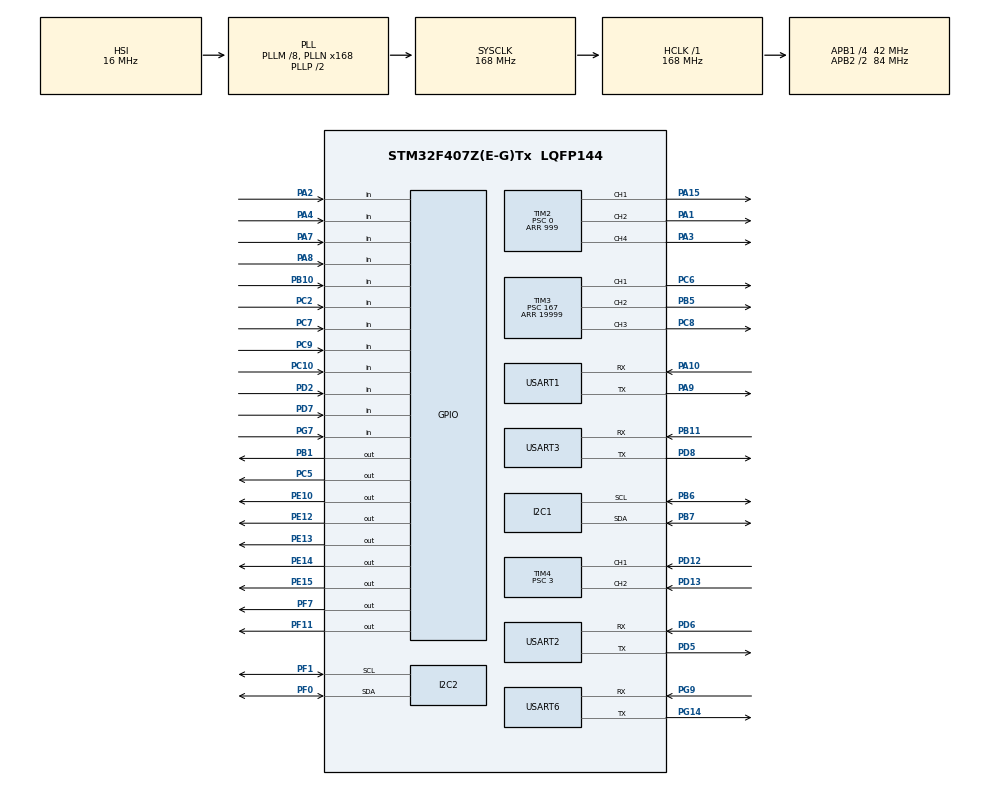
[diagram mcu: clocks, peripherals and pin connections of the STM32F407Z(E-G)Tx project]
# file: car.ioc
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I2C1.I2C_Mode=I2C_Standard
Mcu.Family=STM32F4
Mcu.Name=STM32F407Z(E-G)Tx
Mcu.Package=LQFP144
NVIC.I2C1_ER_IRQn=true\:0\:0\:false\:false\:true\:true\:true\:true
NVIC.I2C1_EV_IRQn=true\:0\:0\:true\:false\:true\:true\:true\:true
NVIC.I2C2_ER_IRQn=true\:0\:0\:false\:false\:true\:true\:true\:true
NVIC.I2C2_EV_IRQn=true\:0\:0\:true\:false\:true\:true\:true\:true
NVIC.PriorityGroup=NVIC_PRIORITYGROUP_4
NVIC.RCC_IRQn=true\:0\:0\:false\:false\:true\:true\:false\:true
NVIC.TIM1_UP_TIM10_IRQn=true\:0\:0\:false\:false\:true\:true\:true\:true
NVIC.TIM2_IRQn=true\:0\:0\:true\:false\:true\:true\:true\:true
NVIC.TIM3_IRQn=true\:0\:0\:true\:false\:true\:true\:true\:true
NVIC.TIM4_IRQn=true\:0\:0\:true\:false\:true\:true\:true\:true
NVIC.USART1_IRQn=true\:1\:0\:true\:false\:true\:true\:true\:true
NVIC.USART2_IRQn=true\:1\:0\:true\:false\:true\:true\:true\:true
NVIC.USART3_IRQn=true\:1\:0\:true\:false\:true\:true\:true\:true
NVIC.USART6_IRQn=true\:0\:0\:false\:false\:true\:true\:true\:true
PA1.Signal=S_TIM2_CH2
PA10.Mode=Asynchronous
PA10.Signal=USART1_RX
PA15.Signal=S_TIM2_CH1_ETR
PA2.GPIO_PuPd=GPIO_PULLUP
PA2.Signal=GPIO_Input
PA3.Signal=S_TIM2_CH4
PA4.GPIO_PuPd=GPIO_PULLUP
PA4.Signal=GPIO_Input
PA7.GPIO_PuPd=GPIO_PULLUP
PA7.Signal=GPIO_Input
PA8.Signal=GPIO_Input
PA9.Mode=Asynchronous
PA9.Signal=USART1_TX
PB1.PinState=GPIO_PIN_RESET
PB1.Signal=GPIO_Output
PB10.Signal=GPIO_Input
PB11.Mode=Asynchronous
PB11.Signal=USART3_RX
PB5.Signal=S_TIM3_CH2
PB6.Mode=I2C
PB6.Signal=I2C1_SCL
PB7.Mode=I2C
PB7.Signal=I2C1_SDA
PC10.Signal=GPIO_Input
PC14-OSC32_IN.Mode=LSE-External-Oscillator
PC14-OSC32_IN.Signal=RCC_OSC32_IN
PC15-OSC32_OUT.Mode=LSE-External-Oscillator
PC15-OSC32_OUT.Signal=RCC_OSC32_OUT
PC2.GPIO_PuPd=GPIO_PULLUP
PC2.Signal=GPIO_Input
PC5.PinState=GPIO_PIN_RESET
PC5.Signal=GPIO_Output
PC6.Signal=S_TIM3_CH1
PC7.Signal=GPIO_Input
PC8.Signal=S_TIM3_CH3
PC9.Signal=GPIO_Input
PD12.Signal=S_TIM4_CH1
PD13.Signal=S_TIM4_CH2
PD2.Signal=GPIO_Input
PD5.Mode=Asynchronous
PD5.Signal=USART2_TX
PD6.Mode=Asynchronous
PD6.Signal=USART2_RX
PD7.Signal=GPIO_Input
PD8.Mode=Asynchronous
PD8.Signal=USART3_TX
PE10.PinState=GPIO_PIN_SET
PE10.Signal=GPIO_Output
PE12.PinState=GPIO_PIN_RESET
PE12.Signal=GPIO_Output
PE13.PinState=GPIO_PIN_RESET
PE13.Signal=GPIO_Output
PE14.PinState=GPIO_PIN_SET
PE14.Signal=GPIO_Output
PE15.Signal=GPIO_Output
PF0.Mode=I2C
PF0.Signal=I2C2_SDA
PF1.Mode=I2C
PF1.Signal=I2C2_SCL
PF11.PinState=GPIO_PIN_RESET
PF11.Signal=GPIO_Output
PF7.PinState=GPIO_PIN_RESET
PF7.Signal=GPIO_Output
PG14.Mode=Asynchronous
PG14.Signal=USART6_TX
PG7.Signal=GPIO_Input
PG9.Mode=Asynchronous
PG9.Signal=USART6_RX
PH0-OSC_IN.Mode=HSE-External-Oscillator
PH0-OSC_IN.Signal=RCC_OSC_IN
PH1-OSC_OUT.Mode=HSE-External-Oscillator
PH1-OSC_OUT.Signal=RCC_OSC_OUT
ProjectManager.HeapSize=0x200
ProjectManager.StackSize=0x400
ProjectManager.TargetToolchain=MDK-ARM V5.32
RCC.48MHZClocksFreq_Value=84000000
RCC.AHBFreq_Value=168000000
RCC.APB1CLKDivider=RCC_HCLK_DIV4
RCC.APB1Freq_Value=42000000
RCC.APB1TimFreq_Value=84000000
RCC.APB2CLKDivider=RCC_HCLK_DIV2
RCC.APB2Freq_Value=84000000
RCC.APB2TimFreq_Value=168000000
RCC.CortexFreq_Value=168000000
RCC.HCLKFreq_Value=168000000
RCC.HSE_VALUE=25000000
RCC.HSI_VALUE=16000000
RCC.PLLM=8
RCC.PLLN=168
RCC.SYSCLKFreq_VALUE=168000000
RCC.SYSCLKSource=RCC_SYSCLKSOURCE_PLLCLK
RCC.VCOOutputFreq_Value=336000000
SH.S_TIM2_CH1_ETR.0=TIM2_CH1,PWM Generation1 CH1
SH.S_TIM2_CH2.0=TIM2_CH2,PWM Generation2 CH2
SH.S_TIM2_CH4.0=TIM2_CH4,PWM Generation4 CH4
SH.S_TIM3_CH1.0=TIM3_CH1,PWM Generation1 CH1
SH.S_TIM3_CH2.0=TIM3_CH2,PWM Generation2 CH2
SH.S_TIM3_CH3.0=TIM3_CH3,PWM Generation3 CH3
SH.S_TIM4_CH1.0=TIM4_CH1,Encoder_Interface
SH.S_TIM4_CH2.0=TIM4_CH2,Encoder_Interface
TIM1.AutoReloadPreload=TIM_AUTORELOAD_PRELOAD_ENABLE
TIM1.Period=29999
TIM1.Prescaler=1679
TIM2.Channel-PWM\ Generation1\ CH1=TIM_CHANNEL_1
TIM2.Channel-PWM\ Generation2\ CH2=TIM_CHANNEL_2
TIM2.Channel-PWM\ Generation4\ CH4=TIM_CHANNEL_4
TIM2.Period=999
TIM2.Prescaler=0
TIM3.AutoReloadPreload=TIM_AUTORELOAD_PRELOAD_DISABLE
TIM3.Channel-PWM\ Generation1\ CH1=TIM_CHANNEL_1
TIM3.Channel-PWM\ Generation2\ CH2=TIM_CHANNEL_2
TIM3.Channel-PWM\ Generation3\ CH3=TIM_CHANNEL_3
TIM3.Period=19999
TIM3.Prescaler=167
TIM4.EncoderMode=TIM_ENCODERMODE_TI12
TIM4.Prescaler=3
USART1.VirtualMode=VM_ASYNC
USART2.VirtualMode=VM_ASYNC
USART3.VirtualMode=VM_ASYNC
USART6.VirtualMode=VM_ASYNC
VP_TIM1_VS_ClockSourceINT.Mode=Internal
VP_TIM1_VS_ClockSourceITR.Mode=TriggerSource_ITR0
board=custom

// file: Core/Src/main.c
/* USER CODE BEGIN Header */
/**
 ******************************************************************************
 * @file           : main.c
 * @brief          : Main program body
 ******************************************************************************
 * @attention
 *
 * Copyright (c) 2023 STMicroelectronics.
 * All rights reserved.
 *
 * This software is licensed under terms that can be found in the LICENSE file
 * in the root directory of this software component.
 * If no LICENSE file comes with this software, it is provided AS-IS.
 *
 ******************************************************************************
 */
/* USER CODE END Header */
#include "main.h"
#include "i2c.h"
#include "tim.h"
#include "usart.h"
#include "gpio.h"

/* USER CODE BEGIN Includes */
#include <stdio.h>
#include <stdlib.h>
#include "OpenMV.h"
#include "xunji.h"
#include "mpu6050.h"
#include "delay.h"
#include "inv_mpu.h"
#include "inv_mpu_dmp_motion_driver.h"
#include "pid.h"
#include "car.h"
#include "oled.h"
#include "stmflash.h"

/* USER CODE END Includes */

/* USER CODE BEGIN PTD */
#define BUFFER_SIZE 20
#define RED_BUFFER 4
// 数字键盘相关
#define FLASH_SAVE_ADDR 0X08010000
// 定义行和列的数量
#define NUM_ROWS 4
#define NUM_COLS 4
// 行和列对应的IO�???
GPIO_TypeDef *row_ports[NUM_ROWS] = {GPIOA, GPIOC, GPIOA, GPIOA};
uint16_t row_pins[NUM_ROWS] = {GPIO_PIN_2, GPIO_PIN_2, GPIO_PIN_4, GPIO_PIN_7};

GPIO_TypeDef *col_ports[NUM_COLS] = {GPIOC, GPIOB, GPIOF, GPIOF};
uint16_t col_pins[NUM_COLS] = {GPIO_PIN_5, GPIO_PIN_1, GPIO_PIN_11, GPIO_PIN_7};
uint32_t load[20] = {655, 774,
					 708, 724, 602, 724, 602, 828, 708, 828,
					 708, 724, 602, 724, 602, 828, 708, 828};

int keyNumbers[NUM_ROWS][NUM_COLS] = {
	{1, 2, 3, 4},
	{5, 6, 7, 8},
	{9, 10, 11, 12},
	{13, 14, 15, 16}};

int flag_stop = 0;
// 缓冲区用于存储接收到的数�??????
uint8_t rxBuffer;
uint32_t rxIndex = 0;
uint8_t redBuffer[RED_BUFFER];
uint32_t redIndex = 0;
// 舵机巡线
int targetX = 0;
int targetY = 0;
uint8_t buffer1[1];

int pwm_orign_x;
int pwm_orign_y;
int pwm_test_x;
int pwm_test_y;
// 接收红色�????光坐�????
int16_t redX = 86;
int16_t redY = 54;
int16_t origin_x = 87;
int16_t origin_y = 54;
// 接收黑框坐标
int16_t x_left_top = 56;
int16_t y_left_top = 40;
int16_t x_right_top = 118;
int16_t y_right_top = 40;
int16_t x_right_bottom = 118;
int16_t y_right_bottom = 86;
int16_t x_left_bottom = 56;
int16_t y_left_bottom = 86;

int pwm_x_left_top_p2 = 708;
int pwm_y_left_top_p2 = 724;
int pwm_x_right_top_p2 = 602;
int pwm_y_right_top_p2 = 724;
int pwm_x_right_bottom_p2 = 602;
int pwm_y_right_bottom_p2 = 828;
int pwm_x_left_bottom_p2 = 708;
int pwm_y_left_bottom_p2 = 828;

int pwm_x_left_top_p3 = 708;
int pwm_y_left_top_p3 = 724;
int pwm_x_right_top_p3 = 602;
int pwm_y_right_top_p3 = 724;
int pwm_x_right_bottom_p3 = 602;
int pwm_y_right_bottom_p3 = 828;
int pwm_x_left_bottom_p3 = 708;
int pwm_y_left_bottom_p3 = 828;

int16_t rect_orign_x;
int16_t rect_orign_y;

int flag_servo = 0;
int flag_problem = 0;

int receivedData;
char *endPtr;
char *token;
/* USER CODE END PTD */

void SystemClock_Config(void);
/* USER CODE BEGIN PFP */
/* USER CODE BEGIN PV */
void ButtonDebug(int pressedKey);
void Problem1(void);
void Problem2(void);
void Problem3(void);
void Problem4(void);
void TrackX(int x1, int x2, int y1, int y2);
void TrackY(int x1, int x2, int y1, int y2);
/* USER CODE END PV */

/* USER CODE END PFP */

/* USER CODE BEGIN 0 */
#define DEBOUNCE_DELAY_MS 20 // 调整此�?�以适应您的�???�???
int isButtonPressed(GPIO_TypeDef *port, uint16_t pin)
{
	uint32_t startTime = HAL_GetTick(); // 获取当前时间

	while (HAL_GetTick() - startTime < DEBOUNCE_DELAY_MS)
	{
		if (HAL_GPIO_ReadPin(port, pin) == GPIO_PIN_RESET)
		{
			// 按键仍然按下
			HAL_Delay(10); // 延迟�???小段时间，确保按键稳�???
		}
		else
		{
			// 按键已经释放
			return 0;
		}
	}

	// 在一段时间内保持按下状�?�，认为按键按下
	return 1;
}
int currentLevel = 0;
int previousLevel = 0;
int currentMenu = 0; // 当前�???在菜�???
int model = 1;
int scanKeyMatrix(void)
{
	int pressedKey = 0; // 默认值表示没有按键按�???
	unsigned char a, b, c;
	for (int i = 0; i < NUM_COLS; i++)
	{
		// 设置当前列为低电�???
		HAL_GPIO_WritePin(col_ports[i], col_pins[i], GPIO_PIN_RESET);
		for (c = 234; c > 0; c--)
			for (b = 123; b > 0; b--)
				for (a = 7; a > 0; a--)
					;
		// �???查每�???行的状�??
		for (int j = 0; j < NUM_ROWS; j++)
		{
			if (HAL_GPIO_ReadPin(row_ports[j], row_pins[j]) == GPIO_PIN_RESET)
			{
				pressedKey = keyNumbers[j][i]; // 获取按键编号
			}
		}

		// 恢复当前列为高电�???
		HAL_GPIO_WritePin(col_ports[i], col_pins[i], GPIO_PIN_SET);
	}

	return pressedKey;
}
/*
	逆时针增�??????
	x[0,180]-> PWM[500,3500]
	y[0,90]-> PWM[1500,2500]
*/
void setServoPosition(int angle_x, int angle_y)
{

	// // 舵机
	uint16_t pulse_x = ((angle_x * 2500) / 270) + 499;
	uint16_t pulse_y = ((angle_y * 1000) / 120) + 1499;

	TIM3->CCR1 = pulse_y;
	TIM3->CCR2 = pulse_x;
}

void setServoPwm(int pwm_x, int pwm_y)
{
	if (pwm_x > 900)
		pwm_x = 900;
	else if (pwm_x < 400)
		pwm_x = 400;
	if (pwm_y > 900)
		pwm_y = 900;
	else if (pwm_y < 400)
		pwm_y = 400;
	TIM3->CCR1 = pwm_y;
	TIM3->CCR2 = pwm_x;
	current_x = pwm_x;
	current_y = pwm_y;
	// printf("current_x:%d,current_x:%d\r\n", current_x, current_y);
}

void BufferInit()
{
	// STMFLASH_Write(FLASH_SAVE_ADDR, (uint32_t *)load, sizeof(load) / sizeof(uint32_t));
	STMFLASH_Read(FLASH_SAVE_ADDR, load, sizeof(load) / sizeof(uint32_t));
	pwm_orign_x = load[0];
	pwm_orign_y = load[1];
	pwm_x_left_top_p2 = load[2];
	pwm_y_left_top_p2 = load[3];
	pwm_x_right_top_p2 = load[4];
	pwm_y_right_top_p2 = load[5];
	pwm_x_right_bottom_p2 = load[6];
	pwm_y_right_bottom_p2 = load[7];
	pwm_x_left_bottom_p2 = load[8];
	pwm_y_left_bottom_p2 = load[9];
	pwm_x_left_top_p3 = load[10];
	pwm_y_left_top_p3 = load[11];
	pwm_x_right_top_p3 = load[12];
	pwm_y_right_top_p3 = load[13];
	pwm_x_right_bottom_p3 = load[14];
	pwm_y_right_bottom_p3 = load[15];
	pwm_x_left_bottom_p3 = load[16];
	pwm_y_left_bottom_p3 = load[17];
	printf("pwm_orign_x:%d\r\n", pwm_orign_x);
	printf("pwm_orign_y:%d\r\n", pwm_orign_y);
	printf("pwm_x_left_top_p2:%d\r\n", pwm_x_left_top_p2);
	printf("pwm_y_left_top_p2:%d\r\n", pwm_y_left_top_p2);
	printf("pwm_x_right_top_p2:%d\r\n", pwm_x_right_top_p2);
	printf("pwm_y_right_top_p2:%d\r\n", pwm_y_right_top_p2);
	printf("pwm_x_right_bottom_p2:%d\r\n", pwm_x_right_bottom_p2);
	printf("pwm_y_right_bottom_p2:%d\r\n", pwm_y_right_bottom_p2);
	printf("pwm_x_left_bottom_p2:%d\r\n", pwm_x_left_bottom_p2);
	printf("pwm_y_left_bottom_p2:%d\r\n", pwm_y_left_bottom_p2);
	printf("pwm_x_left_top_p3:%d\r\n", pwm_x_left_top_p3);
	printf("pwm_y_left_top_p3:%d\r\n", pwm_y_left_top_p3);
	printf("pwm_x_right_top_p3:%d\r\n", pwm_x_right_top_p3);
	printf("pwm_y_right_top_p3:%d\r\n", pwm_y_right_top_p3);
	printf("pwm_x_right_bottom_p3:%d\r\n", pwm_x_right_bottom_p3);
	printf("pwm_y_right_bottom_p3:%d\r\n", pwm_y_right_bottom_p3);
	printf("pwm_x_left_bottom_p3:%d\r\n", pwm_x_left_bottom_p3);
	printf("pwm_y_left_bottom_p3:%d\r\n", pwm_y_left_bottom_p3);
}

/* USER CODE END 0 */

int main(void)
{
	/* USER CODE BEGIN 1 */
	pwm_test_x = pwm_orign_x;
	pwm_test_y = pwm_orign_y;

	/* USER CODE END 1 */

	/* MCU Configuration--------------------------------------------------------*/

	/* Reset of all peripherals, Initializes the Flash interface and the Systick. */
	HAL_Init();

	/* Configure the system clock */
	SystemClock_Config();

	/* Initialize all configured peripherals */
	MX_GPIO_Init();
	MX_TIM1_Init();
	MX_USART1_UART_Init();
	MX_TIM2_Init();
	MX_TIM3_Init();
	MX_TIM4_Init();
	MX_I2C1_Init();
	MX_I2C2_Init();
	MX_USART2_UART_Init();
	MX_USART3_UART_Init();
	MX_USART6_UART_Init();
	/* USER CODE BEGIN 2 */
	HAL_TIM_Base_Start_IT(&htim1);
	HAL_TIM_Base_Start(&htim2);
	HAL_TIM_PWM_Start(&htim2, TIM_CHANNEL_1);
	HAL_TIM_PWM_Start(&htim2, TIM_CHANNEL_2);
	HAL_TIM_PWM_Start(&htim2, TIM_CHANNEL_3);
	HAL_TIM_PWM_Start(&htim2, TIM_CHANNEL_4);
	HAL_TIM_Base_Start(&htim3);
	HAL_TIM_PWM_Start(&htim3, TIM_CHANNEL_1);
	HAL_TIM_PWM_Start(&htim3, TIM_CHANNEL_2);
	HAL_TIM_PWM_Start(&htim3, TIM_CHANNEL_3);
	HAL_TIM_PWM_Start(&htim3, TIM_CHANNEL_4);
	HAL_TIM_Base_Start(&htim4);
	HAL_TIM_Encoder_Start(&htim4, TIM_CHANNEL_ALL);

	BufferInit();
	// setServoPwm(509, 500);
	// [299, 1199]

	// 使能串口三接收中�??????
	HAL_UART_Receive_IT(&huart3, (void *)&rxBuffer, 1);
	HAL_UART_Receive_IT(&huart1, &buffer1[1], 1);
	// HAL_UART_Receive_IT(&huart2, &redBuffer[redIndex], 1);
	HAL_UART_Receive_IT(&huart6, &redBuffer[redIndex], 1);

	//	Mpu6050_Init();

	OLED_Init();
	OLED_Clear();

	// HAL_ADC_Start_IT(&hadc1);
	printf("start\r\n");
	setServoPwm(651, 778);

	/* USER CODE END 2 */

	/* Infinite loop */
	/* USER CODE BEGIN WHILE */
	while (1)
	{

		int pressedKey = scanKeyMatrix();
		if (pressedKey == 6)
		{
			flag_problem = 1;
		}
		else if (pressedKey == 12)
		{
			flag_problem = 2;
		}
		else if (pressedKey == 14)
		{
			flag_problem = 3;
		}
		else if (pressedKey == 15)
		{
			flag_problem = 4;
		}
		ButtonDebug(pressedKey);
		// if (flag_problem == 2)
		// {
		// 	Problem2();
		// 	flag_problem = 0;
		// }
		// else if (flag_problem == 3)
		// {
		// 	Problem3();
		// 	flag_problem = 0;
		// }
		// else if (flag_problem == 4)
		// {
		// 	Problem4();
		// 	flag_problem = 0;
		// }

		if (flag_problem == 1)
		{
			Problem1();
			flag_problem = 0;
		}
		else if (flag_problem == 2)
		{
			Problem2();
			flag_problem = 0;
		}
		else if (flag_problem == 3)
		{
			Problem3();
			flag_problem = 0;
		}
		else if (flag_problem == 4)
		{
			Problem4();
			flag_problem = 0;
		}
	}

	/* USER CODE END WHILE */

}

void SystemClock_Config(void)
{
	RCC_OscInitTypeDef RCC_OscInitStruct = {0};
	RCC_ClkInitTypeDef RCC_ClkInitStruct = {0};

	/** Configure the main internal regulator output voltage
	 */
	__HAL_RCC_PWR_CLK_ENABLE();
	__HAL_PWR_VOLTAGESCALING_CONFIG(PWR_REGULATOR_VOLTAGE_SCALE1);

	/** Initializes the RCC Oscillators according to the specified parameters
	 * in the RCC_OscInitTypeDef structure.
	 */
	RCC_OscInitStruct.OscillatorType = RCC_OSCILLATORTYPE_HSI;
	RCC_OscInitStruct.HSIState = RCC_HSI_ON;
	RCC_OscInitStruct.HSICalibrationValue = RCC_HSICALIBRATION_DEFAULT;
	RCC_OscInitStruct.PLL.PLLState = RCC_PLL_ON;
	RCC_OscInitStruct.PLL.PLLSource = RCC_PLLSOURCE_HSI;
	RCC_OscInitStruct.PLL.PLLM = 8;
	RCC_OscInitStruct.PLL.PLLN = 168;
	RCC_OscInitStruct.PLL.PLLP = RCC_PLLP_DIV2;
	RCC_OscInitStruct.PLL.PLLQ = 4;
	if (HAL_RCC_OscConfig(&RCC_OscInitStruct) != HAL_OK)
	{
		Error_Handler();
	}

	/** Initializes the CPU, AHB and APB buses clocks
	 */
	RCC_ClkInitStruct.ClockType = RCC_CLOCKTYPE_HCLK | RCC_CLOCKTYPE_SYSCLK | RCC_CLOCKTYPE_PCLK1 | RCC_CLOCKTYPE_PCLK2;
	RCC_ClkInitStruct.SYSCLKSource = RCC_SYSCLKSOURCE_PLLCLK;
	RCC_ClkInitStruct.AHBCLKDivider = RCC_SYSCLK_DIV1;
	RCC_ClkInitStruct.APB1CLKDivider = RCC_HCLK_DIV4;
	RCC_ClkInitStruct.APB2CLKDivider = RCC_HCLK_DIV2;

	if (HAL_RCC_ClockConfig(&RCC_ClkInitStruct, FLASH_LATENCY_5) != HAL_OK)
	{
		Error_Handler();
	}
}

/* USER CODE BEGIN 4 */
void TrackX(int x1, int x2, int y1, int y2)
{
	int countX = 0;
	countX = x1 - x2;
	for (int i = 0; i < fabs(countX); i++)
	{
		if (countX > 0)
			x1 = x1 - 1;
		else if (countX < 0)
			x1 = x1 + 1;
		if (i == fabs(countX))
		{
			if (x1 > x2)
				x1 = x2;
			else if (x1 < x2)
				x1 = x2;
		}
		setServoPwm(x1, y2);
		delay_ms(20);
	}
}
void TrackY(int x1, int x2, int y1, int y2)
{
	int countY = 0;
	countY = y1 - y2;
	for (int i = 0; i < fabs(countY); i++)
	{
		if (countY > 0)
			y1 = y1 - 1;
		else if (countY < 0)
			y1 = y1 + 1;
		if (i == fabs(countY) - 1)
		{
			if (y1 > y2)
				y1 = y2;
			else if (y1 < y2)
				y1 = y2;
		}

		setServoPwm(x2, y1);
		delay_ms(20);
	}
}

void TrackXY(int x1, int x2, int y1, int y2)
{
	int countX = x1 - x2;
	int countY = y1 - y2;
	int flagX = countX > 0 ? -1 : 1;
	int flagY = countY > 0 ? -1 : 1;
	printf("flagX:%d,flagY:%d\r\n", flagX, flagY);
	int minCount = countX < countY ? countY : countX; // 取最大次�???
	float stepX = abs(countX / (minCount * 1.0));
	float stepY = abs(countY / (minCount * 1.0));
	int x_point = abs((int)(stepX * 10) % 10);
	int y_point = abs((int)(stepY * 10) % 10);
	printf("x1:%d,x2:%d,y1:%d,y2:%d\r\n", x1, x2, y1, y2);
	printf("minCount:%d,stepX:%.3f,stepY:%.3f\r\n", minCount, stepX, stepY);
	printf("x_point:%d,y_point:%d\r\n", x_point, y_point);
	for (int i = 0; i < fabs(minCount) / 2; i++)
	{
		if (stepX == 1.0f)
		{
			x1 = x1 + (int)stepX * flagX;
			// 小数部分大于0.5
			if (y_point > 5)
			{
				if (i % 2 == 0)
				{
					y1 = y1 + (int)stepY * flagY;
				}
				else
				{
					y1 = y1 + ((int)stepY - 1) * flagY;
				}
			}
			else
			{
				if (i % 2 == 0)
				{
					y1 = y1 + (int)stepY * flagY;
				}
				else
				{
					y1 = y1 + ((int)stepY + 1) * flagY;
				}
			}
		}
		else if (stepY == 1.0f)
		{
			y1 = y1 + (int)stepY * flagY;
			if (x_point > 5)
			{
				if (i % 2 == 0)
				{
					x1 = x1 + (int)stepX * flagX;
				}
				else
				{
					x1 = x1 + ((int)stepX - 1) * flagX;
				}
			}
			else
			{
				if (i % 2 == 0)
				{
					x1 = x1 + (int)stepX * flagY;
				}
				else
				{
					x1 = x1 + ((int)stepX + 1) * flagX;
				}
			}
		}
		printf("i:%d,x1:%d,y1:%d\r\n", i, x1, y1);
		setServoPwm(x1, y1);
		delay_ms(20);
	}
}
void Problem1(void)
{
	setServoPwm(pwm_orign_x, pwm_orign_y);
}
void Problem2(void)
{
	// 顺时针移�???
	// 左上顶点
	setServoPwm(pwm_x_left_top_p2, pwm_y_left_top_p2);
	delay_ms(3000);
	TrackX(pwm_x_left_top_p2, pwm_x_right_top_p2, pwm_y_left_top_p2, pwm_y_right_top_p2);
	// 右上顶点
	setServoPwm(pwm_x_right_top_p2, pwm_y_right_top_p2);
	delay_ms(100);
	TrackY(pwm_x_right_top_p2, pwm_x_right_bottom_p2, pwm_y_right_top_p2, pwm_y_right_bottom_p2);
	// 右下顶点
	setServoPwm(pwm_x_right_bottom_p2, pwm_y_right_bottom_p2);
	delay_ms(100);
	TrackX(pwm_x_right_bottom_p2, pwm_x_left_bottom_p2, pwm_y_right_bottom_p2, pwm_y_left_bottom_p2);
	// 左下顶点
	setServoPwm(pwm_x_left_bottom_p2, pwm_y_left_bottom_p2);
	delay_ms(100);
	TrackY(pwm_x_left_bottom_p2, pwm_x_left_top_p2, pwm_y_left_bottom_p2, pwm_y_left_top_p2);
	// 回左上角
	setServoPwm(pwm_x_left_top_p2, pwm_y_left_top_p2);
}
void Problem3(void)
{
	setServoPwm(pwm_x_left_top_p3, pwm_y_left_top_p3);
	delay_ms(1000);
	TrackX(pwm_x_left_top_p3, pwm_x_right_top_p3, pwm_y_left_top_p3, pwm_y_right_top_p3);
	// 右上顶点
	setServoPwm(pwm_x_right_top_p3, pwm_y_right_top_p3);
	delay_ms(100);
	TrackY(pwm_x_right_top_p3, pwm_x_right_bottom_p3, pwm_y_right_top_p3, pwm_y_right_bottom_p3);
	// 右下顶点
	setServoPwm(pwm_x_right_bottom_p3, pwm_y_right_bottom_p3);
	delay_ms(100);
	TrackX(pwm_x_right_bottom_p3, pwm_x_left_bottom_p3, pwm_y_right_bottom_p3, pwm_y_left_bottom_p3);
	// 左下顶点
	setServoPwm(pwm_x_left_bottom_p3, pwm_y_left_bottom_p3);
	delay_ms(100);
	TrackY(pwm_x_left_bottom_p3, pwm_x_left_top_p3, pwm_y_left_bottom_p3, pwm_y_left_top_p3);
	// 回左上角
	setServoPwm(pwm_x_left_top_p3, pwm_y_left_top_p3);
}
void Problem4(void)
{

	int x_left_top_p4 = x_left_top - 1;
	int y_left_top_p4 = y_left_top - 2;
	int x_right_top_p4 = x_right_top - 2;
	int y_right_top_p4 = y_right_top + 3;
	int x_right_bottom_p4 = x_right_bottom - 6;
	int y_right_bottom_p4 = y_right_bottom;
	int x_left_bottom_p4 = x_left_bottom - 3;
	int y_left_bottom_p4 = y_left_bottom - 3;

	rect_orign_x = (int)(x_left_top_p4 + x_right_top_p4 + x_left_bottom_p4 + x_right_bottom_p4) / 4;
	rect_orign_y = (int)(y_left_top_p4 + y_right_top_p4 + y_left_bottom_p4 + y_right_bottom_p4) / 4;
	// printf("rect_orign_x:%d,rect_orign_y:%d\r\n", rect_orign_x, rect_orign_y);
	// printf("x_left_top:%d,y_left_top:%d,x_right_top:%d,y_right_top:%d\r\n", x_left_top_p4, y_left_top_p4, x_right_top_p4, y_right_top_p4);
	// printf("x_left_bottom:%d,y_left_bottom:%d,x_right_bottom:%d,y_right_bottom:%d\r\n", x_left_bottom_p4, y_left_bottom_p4, x_right_bottom_p4, y_right_bottom_p4);

	float pwm_rate_x = 1;
	float pwm_rate_y = 1;

	int x_center_error = origin_x - rect_orign_x;
	int y_center_error = origin_y - rect_orign_y;

	int x_left_top_error = rect_orign_x - x_left_top_p4;
	int y_left_top_error = rect_orign_y - y_left_top_p4;

	int x_right_top_error = rect_orign_x - x_right_top_p4;
	int y_right_top_error = rect_orign_y - y_right_top_p4;

	int x_right_bottom_error = rect_orign_x - x_right_bottom_p4;
	int y_right_bottom_error = rect_orign_y - y_right_bottom_p4;

	int x_left_bottom_error = rect_orign_x - x_left_bottom_p4;
	int y_left_bottom_error = rect_orign_y - y_left_bottom_p4;

	int pwm_x_center;
	int pwm_y_center;
	int pwm_x_left_top;
	int pwm_y_left_top;
	int pwm_x_right_top;
	int pwm_y_right_top;
	int pwm_x_right_bottom;
	int pwm_y_right_bottom;
	int pwm_x_left_bottom;
	int pwm_y_left_bottom;

	pwm_x_center = pwm_orign_x + (int)x_center_error / pwm_rate_x;
	pwm_y_center = pwm_orign_y - (int)y_center_error / pwm_rate_y;

	pwm_x_left_top = pwm_x_center + (int)x_left_top_error / pwm_rate_x;
	pwm_y_left_top = pwm_y_center - (int)(y_left_top_error - 2) / pwm_rate_y;

	pwm_x_right_top = pwm_x_center + (int)(x_right_top_error + 3) / pwm_rate_x;
	pwm_y_right_top = pwm_y_center - (int)y_right_top_error / pwm_rate_y;

	pwm_x_right_bottom = pwm_x_center + (int)x_right_bottom_error / pwm_rate_x;
	pwm_y_right_bottom = pwm_y_center - (int)(y_right_bottom_error + 3) / pwm_rate_y;

	pwm_x_left_bottom = pwm_x_center + (int)(x_left_bottom_error - 2) / pwm_rate_x;
	pwm_y_left_bottom = pwm_y_center - (int)y_left_bottom_error / pwm_rate_y;

	setServoPwm(pwm_x_center, pwm_y_center);
	delay_ms(1000);

	setServoPwm(pwm_x_left_top, pwm_y_left_top);
	// printf("pwm_x_left_top:%d, pwm_y_left_top:%d\r\n", pwm_x_left_top, pwm_y_left_top);
	delay_ms(1000);
	TrackXY(pwm_x_left_top, pwm_x_right_top, pwm_y_left_top, pwm_y_right_top);
	setServoPwm(pwm_x_right_top, pwm_y_right_top);
	printf("pwm_x_right_top:%d, pwm_y_right_top:%d\r\n", pwm_x_right_top, pwm_y_right_top);
	delay_ms(1000);
	TrackXY(pwm_x_right_top, pwm_x_right_bottom, pwm_y_right_top, pwm_y_right_bottom);

	setServoPwm(pwm_x_right_bottom, pwm_y_right_bottom);
	printf("pwm_x_right_bottom:%d, pwm_y_right_bottom:%d\r\n", pwm_x_right_bottom, pwm_y_right_bottom);

	delay_ms(1000);
	TrackXY(pwm_x_right_bottom, pwm_x_left_bottom, pwm_y_right_bottom, pwm_y_left_bottom);

	setServoPwm(pwm_x_left_bottom, pwm_y_left_bottom);
	printf("pwm_x_left_bottom:%d, pwm_y_left_bottom:%d\r\n", pwm_x_left_bottom, pwm_y_left_bottom);

	delay_ms(1000);
	TrackXY(pwm_x_left_bottom, pwm_x_left_top, pwm_y_left_bottom, pwm_y_left_top);

	setServoPwm(pwm_x_left_top, pwm_y_left_top);
	printf("pwm_x_left_top:%d, pwm_y_left_top:%d\r\n", pwm_x_left_top, pwm_y_left_top);

	delay_ms(1000);
}

// 串口三接收中断处理函�?????
uint8_t tempt;
void HAL_UART_RxCpltCallback(UART_HandleTypeDef *huart)
{

	if (huart == &huart3)
	{
		tempt = rxBuffer;
		Openmv_Receive_Data(tempt);
		// 重新启用串口三接收中断，以继续接收数�?????
		HAL_UART_Receive_IT(&huart3, (void *)&rxBuffer, 1);
	}
	else if (huart == &huart1)
	{
		// x �???+ �???-
		// y �???+ �???-
		buffer1[0] = huart->Instance->DR; // Read received data from UART DR register
		if (buffer1[0] == 0x00)
		{
			setServoPwm(675, 783);
			printf("reset\r\n");
		}
		// x�??? +-10
		else if (buffer1[0] == 0x01)
		{
			pwm_test_x = pwm_test_x + 10;
			printf("pwm_test_x:%d\r\n", pwm_test_x);
		}
		else if (buffer1[0] == 0x02)
		{
			pwm_test_x = pwm_test_x - 10;
			printf("pwm_test_x:%d\r\n", pwm_test_x);
		}
		// y�??? +-10
		else if (buffer1[0] == 0x03)
		{
			pwm_test_y = pwm_test_y + 10;
			printf("pwm_test_y:%d\r\n", pwm_test_y);
		}
		else if (buffer1[0] == 0x04)
		{
			pwm_test_y = pwm_test_y - 10;
			printf("pwm_test_y:%d\r\n", pwm_test_y);
		}
		// x�??? +-100
		else if (buffer1[0] == 0x05)
		{
			pwm_test_x = pwm_test_x + 100;
			printf("pwm_test_x:%d\r\n", pwm_test_x);
		}
		else if (buffer1[0] == 0x06)
		{
			pwm_test_x = pwm_test_x - 100;
			printf("pwm_test_x:%d\r\n", pwm_test_x);
		}
		// y�??? +-100
		else if (buffer1[0] == 0x07)
		{
			pwm_test_y = pwm_test_y + 100;
			printf("pwm_test_y:%d\r\n", pwm_test_y);
		}
		else if (buffer1[0] == 0x08)
		{
			pwm_test_y = pwm_test_y - 100;
			printf("pwm_test_y:%d\r\n", pwm_test_y);
		}
		// x�??? +-1
		else if (buffer1[0] == 0x09)
		{
			pwm_test_x = pwm_test_x + 1;
			printf("pwm_test_x:%d\r\n", pwm_test_x);
		}
		else if (buffer1[0] == 0x10)
		{
			pwm_test_x = pwm_test_x - 1;
			printf("pwm_test_x:%d\r\n", pwm_test_x);
		}
		// y�??? +-1
		else if (buffer1[0] == 0x12)
		{
			pwm_test_y = pwm_test_y + 1;
			printf("pwm_test_y:%d\r\n", pwm_test_y);
		}
		else if (buffer1[0] == 0x13)
		{
			pwm_test_y = pwm_test_y - 1;
			printf("pwm_test_y:%d\r\n", pwm_test_y);
		}
		else if (buffer1[0] == 0x14)
		{
			pwm_test_x = pwm_test_x + 50;
			printf("pwm_test_x:%d\r\n", pwm_test_x);
		}
		else if (buffer1[0] == 0x15)
		{
			pwm_test_x = pwm_test_x - 50;
			printf("pwm_test_x:%d\r\n", pwm_test_x);
		}
		// y�??? +-1
		else if (buffer1[0] == 0x16)
		{
			pwm_test_y = pwm_test_y + 50;
			printf("pwm_test_y:%d\r\n", pwm_test_y);
		}
		else if (buffer1[0] == 0x17)
		{
			pwm_test_y = pwm_test_y - 50;
			printf("pwm_test_y:%d\r\n", pwm_test_y);
		}
		else if (buffer1[0] == 0x90)
		{
			flag_problem = 2;
			printf("Problem2:\r\n");
		}
		else if (buffer1[0] == 0x91)
		{
			flag_problem = 3;
			printf("Problem3:\r\n");
		}
		else if (buffer1[0] == 0x92)
		{
			flag_problem = 4;
			printf("Problem4:\r\n");
		}
		else if (buffer1[0] == 0x98)
		{
			printf("current  x_left_top:%d, y_left_top:%d,x_right_top:%d,y_right_top:%d,x_right_bottom:%d,y_right_bottom:%d,x_left_bottom:%d,y_left_bottom:%d\r\n", x_left_top, y_left_top, x_right_top, y_right_top, x_right_bottom, y_right_bottom, x_left_bottom, y_left_bottom);
		}
		else if (buffer1[0] == 0x99)
		{
			printf("pwm_test_x:%d, pwm_test_y:%d\r\n", pwm_test_x, pwm_test_y);
		}
		// 重新启用串口接收中断，以继续接收数据
		setServoPwm(pwm_test_x, pwm_test_y);
		HAL_UART_Receive_IT(&huart1, &buffer1[1], 1);
	}
}

void ButtonDebug(int pressedKey)
{
	if (pressedKey)
	{

		switch (model)
		{
		case 1:
			OLED_Clear();
			OLED_ShowString(0, 0, "Main Menu", 8);
			model = 1;
			//				 OLED_ShowNum(94,52,pressedKey,3,12);	//显示ASCII字符的码�??
			switch (pressedKey)
			{
			case 8:
				model = 2;
				if (model > 40)
					model = 1;
				OLED_Clear();
				OLED_ShowString(0, 0, "Model", 1);
				OLED_ShowString(16, 2, "x:", 1);
				OLED_ShowString(16, 4, "y:", 1);
				OLED_ShowNum(32, 0, model, 3, 8); // 显示ASCII字符的码

				break;
			case 16:
				STMFLASH_Write(FLASH_SAVE_ADDR, (uint32_t *)load, sizeof(load) / sizeof(uint32_t));
				STMFLASH_Read(FLASH_SAVE_ADDR, load, sizeof(load) / sizeof(uint32_t));
				OLED_Clear();
				OLED_ShowString(0, 0, "save_ok", 1);
				break;
			}
			break;
		case 2:
			switch (pressedKey)
			{
			case 1:
				load[model - 1] -= 10;
				printf("y:%d\r\n", load[model - 1]);
				OLED_ShowNum(64, 2, load[model - 2], 4, 8); // 显示ASCII字符的码
				OLED_ShowNum(64, 4, load[model - 1], 4, 8); // 显示ASCII字符的码
				break;
			case 2:
				load[model - 1]--;
				printf("y:%d\r\n", load[model - 1]);
				OLED_ShowNum(64, 2, load[model - 2], 4, 8); // 显示ASCII字符的码
				OLED_ShowNum(64, 4, load[model - 1], 4, 8); // 显示ASCII字符的码
				break;
			case 3:
				load[model - 1] += 10;
				printf("y:%d\r\n", load[model - 1]);
				OLED_ShowNum(64, 2, load[model - 2], 4, 8); // 显示ASCII字符的码
				OLED_ShowNum(64, 4, load[model - 1], 4, 8); // 显示ASCII字符的码
				break;
			case 9:
				load[model - 2] -= 10;
				printf("y:%d\r\n", load[model - 1]);
				OLED_ShowNum(64, 2, load[model - 2], 4, 8); // 显示ASCII字符的码
				OLED_ShowNum(64, 4, load[model - 1], 4, 8); // 显示ASCII字符的码
				break;
			case 10:
				load[model - 1]++;
				printf("y:%d\r\n", load[model - 1]);
				OLED_ShowNum(64, 2, load[model - 2], 4, 8); // 显示ASCII字符的码
				OLED_ShowNum(64, 4, load[model - 1], 4, 8); // 显示ASCII字符的码
				break;
			case 11:
				load[model - 2] += 10;
				printf("y:%d\r\n", load[model - 1]);
				OLED_ShowNum(64, 2, load[model - 2], 4, 8); // 显示ASCII字符的码
				OLED_ShowNum(64, 4, load[model - 1], 4, 8); // 显示ASCII字符的码
				break;
			case 5:
				load[model - 2]++;

				OLED_ShowNum(64, 2, load[model - 2], 4, 8); // 显示ASCII字符的码
				OLED_ShowNum(64, 4, load[model - 1], 4, 8); // 显示ASCII字符的码
				break;

			case 7:
				load[model - 2]--;

				OLED_ShowNum(64, 2, load[model - 2], 4, 8); // 显示ASCII字符的码
				OLED_ShowNum(64, 4, load[model - 1], 4, 8); // 显示ASCII字符的码
				break;
			case 16:
				STMFLASH_Write(FLASH_SAVE_ADDR, (uint32_t *)load, sizeof(load) / sizeof(uint32_t));
				STMFLASH_Read(FLASH_SAVE_ADDR, load, sizeof(load) / sizeof(uint32_t));
				OLED_Clear();
				OLED_ShowString(0, 0, "save_ok", 1);
				break;
			case 4: // 返回上一级菜�??
				model = 1;
				//						OLED_Clear();
				// 显示回到主菜�??
				break;
				// ... 其他 model1 子菜单按键处�??
			case 8:
				model += 2;
				if (model > 20)
					model = 1;
				OLED_Clear();
				OLED_ShowString(0, 0, "Model", 1);
				OLED_ShowString(16, 2, "x:", 1);
				OLED_ShowString(16, 4, "y:", 1);
				OLED_ShowNum(32, 0, model, 3, 8); // 显示ASCII字符的码

				break;
			}
			break;
		case 4:
			switch (pressedKey)
			{
			case 1:
				load[model - 1] -= 10;
				printf("y:%d\r\n", load[model - 1]);
				OLED_ShowNum(64, 2, load[model - 2], 4, 8); // 显示ASCII字符的码
				OLED_ShowNum(64, 4, load[model - 1], 4, 8); // 显示ASCII字符的码
				break;
			case 2:
				load[model - 1]--;
				printf("y:%d\r\n", load[model - 1]);
				OLED_ShowNum(64, 2, load[model - 2], 4, 8); // 显示ASCII字符的码
				OLED_ShowNum(64, 4, load[model - 1], 4, 8); // 显示ASCII字符的码
				break;
			case 3:
				load[model - 1] += 10;
				printf("y:%d\r\n", load[model - 1]);
				OLED_ShowNum(64, 2, load[model - 2], 4, 8); // 显示ASCII字符的码
				OLED_ShowNum(64, 4, load[model - 1], 4, 8); // 显示ASCII字符的码
				break;
			case 9:
				load[model - 2] -= 10;
				printf("y:%d\r\n", load[model - 1]);
				OLED_ShowNum(64, 2, load[model - 2], 4, 8); // 显示ASCII字符的码
				OLED_ShowNum(64, 4, load[model - 1], 4, 8); // 显示ASCII字符的码
				break;
			case 10:
				load[model - 1]++;
				printf("y:%d\r\n", load[model - 1]);
				OLED_ShowNum(64, 2, load[model - 2], 4, 8); // 显示ASCII字符的码
				OLED_ShowNum(64, 4, load[model - 1], 4, 8); // 显示ASCII字符的码
				break;
			case 11:
				load[model - 2] += 10;
				printf("y:%d\r\n", load[model - 1]);
				OLED_ShowNum(64, 2, load[model - 2], 4, 8); // 显示ASCII字符的码
				OLED_ShowNum(64, 4, load[model - 1], 4, 8); // 显示ASCII字符的码
				break;
			case 5:
				load[model - 2]++;

				OLED_ShowNum(64, 2, load[model - 2], 4, 8); // 显示ASCII字符的码
				OLED_ShowNum(64, 4, load[model - 1], 4, 8); // 显示ASCII字符的码
				break;

			case 7:
				load[model - 2]--;

				OLED_ShowNum(64, 2, load[model - 2], 4, 8); // 显示ASCII字符的码
				OLED_ShowNum(64, 4, load[model - 1], 4, 8); // 显示ASCII字符的码
				break;
			case 16:
				STMFLASH_Write(FLASH_SAVE_ADDR, (uint32_t *)load, sizeof(load) / sizeof(uint32_t));
				STMFLASH_Read(FLASH_SAVE_ADDR, load, sizeof(load) / sizeof(uint32_t));
				OLED_Clear();
				OLED_ShowString(0, 0, "save_ok", 1);
				break;
			case 4: // 返回上一级菜�??
				model = 1;
				//						OLED_Clear();
				// 显示回到主菜�??
				break;
				// ... 其他 model1 子菜单按键处�??
			case 8:
				model += 2;
				if (model > 20)
					model = 1;
				OLED_Clear();
				OLED_ShowString(0, 0, "Model", 1);
				OLED_ShowString(16, 2, "x:", 1);
				OLED_ShowString(16, 4, "y:", 1);
				OLED_ShowNum(32, 0, model, 3, 8); // 显示ASCII字符的码

				break;
			}
			break;
		case 6:
			switch (pressedKey)
			{

			case 1:
				load[model - 1] -= 10;
				printf("y:%d\r\n", load[model - 1]);
				OLED_ShowNum(64, 2, load[model - 2], 4, 8); // 显示ASCII字符的码
				OLED_ShowNum(64, 4, load[model - 1], 4, 8); // 显示ASCII字符的码
				break;
			case 2:
				load[model - 1]--;
				printf("y:%d\r\n", load[model - 1]);
				OLED_ShowNum(64, 2, load[model - 2], 4, 8); // 显示ASCII字符的码
				OLED_ShowNum(64, 4, load[model - 1], 4, 8); // 显示ASCII字符的码
				break;
			case 3:
				load[model - 1] += 10;
				printf("y:%d\r\n", load[model - 1]);
				OLED_ShowNum(64, 2, load[model - 2], 4, 8); // 显示ASCII字符的码
				OLED_ShowNum(64, 4, load[model - 1], 4, 8); // 显示ASCII字符的码
				break;
			case 9:
				load[model - 2] -= 10;
				printf("y:%d\r\n", load[model - 1]);
				OLED_ShowNum(64, 2, load[model - 2], 4, 8); // 显示ASCII字符的码
				OLED_ShowNum(64, 4, load[model - 1], 4, 8); // 显示ASCII字符的码
				break;
			case 10:
				load[model - 1]++;
				printf("y:%d\r\n", load[model - 1]);
				OLED_ShowNum(64, 2, load[model - 2], 4, 8); // 显示ASCII字符的码
				OLED_ShowNum(64, 4, load[model - 1], 4, 8); // 显示ASCII字符的码
				break;
			case 11:
				load[model - 2] += 10;
				printf("y:%d\r\n", load[model - 1]);
				OLED_ShowNum(64, 2, load[model - 2], 4, 8); // 显示ASCII字符的码
				OLED_ShowNum(64, 4, load[model - 1], 4, 8); // 显示ASCII字符的码
				break;
			case 5:
				load[model - 2]++;

				OLED_ShowNum(64, 2, load[model - 2], 4, 8); // 显示ASCII字符的码
				OLED_ShowNum(64, 4, load[model - 1], 4, 8); // 显示ASCII字符的码
				break;

			case 7:
				load[model - 2]--;

				OLED_ShowNum(64, 2, load[model - 2], 4, 8); // 显示ASCII字符的码
				OLED_ShowNum(64, 4, load[model - 1], 4, 8); // 显示ASCII字符的码
				break;
			case 16:
				STMFLASH_Write(FLASH_SAVE_ADDR, (uint32_t *)load, sizeof(load) / sizeof(uint32_t));
				STMFLASH_Read(FLASH_SAVE_ADDR, load, sizeof(load) / sizeof(uint32_t));
				OLED_Clear();
				OLED_ShowString(0, 0, "save_ok", 1);
				break;
			case 4: // 返回上一级菜�??
				model = 1;
				//						OLED_Clear();
				// 显示回到主菜�??
				break;
				// ... 其他 model1 子菜单按键处�??
			case 8:
				model += 2;
				if (model > 20)
					model = 1;
				OLED_Clear();
				OLED_ShowString(0, 0, "Model", 1);
				OLED_ShowString(16, 2, "x:", 1);
				OLED_ShowString(16, 4, "y:", 1);
				OLED_ShowNum(32, 0, model, 3, 8); // 显示ASCII字符的码

				break;
			}
			break;
		case 8:
			switch (pressedKey)
			{

			case 1:
				load[model - 1] -= 10;
				printf("y:%d\r\n", load[model - 1]);
				OLED_ShowNum(64, 2, load[model - 2], 4, 8); // 显示ASCII字符的码
				OLED_ShowNum(64, 4, load[model - 1], 4, 8); // 显示ASCII字符的码
				break;
			case 2:
				load[model - 1]--;
				printf("y:%d\r\n", load[model - 1]);
				OLED_ShowNum(64, 2, load[model - 2], 4, 8); // 显示ASCII字符的码
				OLED_ShowNum(64, 4, load[model - 1], 4, 8); // 显示ASCII字符的码
				break;
			case 3:
				load[model - 1] += 10;
				printf("y:%d\r\n", load[model - 1]);
				OLED_ShowNum(64, 2, load[model - 2], 4, 8); // 显示ASCII字符的码
				OLED_ShowNum(64, 4, load[model - 1], 4, 8); // 显示ASCII字符的码
				break;
			case 9:
				load[model - 2] -= 10;
				printf("y:%d\r\n", load[model - 1]);
				OLED_ShowNum(64, 2, load[model - 2], 4, 8); // 显示ASCII字符的码
				OLED_ShowNum(64, 4, load[model - 1], 4, 8); // 显示ASCII字符的码
				break;
			case 10:
				load[model - 1]++;
				printf("y:%d\r\n", load[model - 1]);
				OLED_ShowNum(64, 2, load[model - 2], 4, 8); // 显示ASCII字符的码
				OLED_ShowNum(64, 4, load[model - 1], 4, 8); // 显示ASCII字符的码
				break;
			case 11:
				load[model - 2] += 10;
				printf("y:%d\r\n", load[model - 1]);
				OLED_ShowNum(64, 2, load[model - 2], 4, 8); // 显示ASCII字符的码
				OLED_ShowNum(64, 4, load[model - 1], 4, 8); // 显示ASCII字符的码
				break;
			case 5:
				load[model - 2]++;

				OLED_ShowNum(64, 2, load[model - 2], 4, 8); // 显示ASCII字符的码
				OLED_ShowNum(64, 4, load[model - 1], 4, 8); // 显示ASCII字符的码
				break;

			case 7:
				load[model - 2]--;

				OLED_ShowNum(64, 2, load[model - 2], 4, 8); // 显示ASCII字符的码
				OLED_ShowNum(64, 4, load[model - 1], 4, 8); // 显示ASCII字符的码
				break;
			case 16:
				STMFLASH_Write(FLASH_SAVE_ADDR, (uint32_t *)load, sizeof(load) / sizeof(uint32_t));
				STMFLASH_Read(FLASH_SAVE_ADDR, load, sizeof(load) / sizeof(uint32_t));
				OLED_Clear();
				OLED_ShowString(0, 0, "save_ok", 1);
				break;
			case 4: // 返回上一级菜�??
				model = 1;
				//						OLED_Clear();
				// 显示回到主菜�??
				break;
				// ... 其他 model1 子菜单按键处�??
			case 8:
				model += 2;
				if (model > 20)
					model = 1;
				OLED_Clear();
				OLED_ShowString(0, 0, "Model", 1);
				OLED_ShowString(16, 2, "x:", 1);
				OLED_ShowString(16, 4, "y:", 1);
				OLED_ShowNum(32, 0, model, 3, 8); // 显示ASCII字符的码

				break;
			}
			break;
		case 10:
			switch (pressedKey)
			{

			case 1:
				load[model - 1] -= 10;
				printf("y:%d\r\n", load[model - 1]);
				OLED_ShowNum(64, 2, load[model - 2], 4, 8); // 显示ASCII字符的码
				OLED_ShowNum(64, 4, load[model - 1], 4, 8); // 显示ASCII字符的码
				break;
			case 2:
				load[model - 1]--;
				printf("y:%d\r\n", load[model - 1]);
				OLED_ShowNum(64, 2, load[model - 2], 4, 8); // 显示ASCII字符的码
				OLED_ShowNum(64, 4, load[model - 1], 4, 8); // 显示ASCII字符的码
				break;
			case 3:
				load[model - 1] += 10;
				printf("y:%d\r\n", load[model - 1]);
				OLED_ShowNum(64, 2, load[model - 2], 4, 8); // 显示ASCII字符的码
				OLED_ShowNum(64, 4, load[model - 1], 4, 8); // 显示ASCII字符的码
				break;
			case 9:
				load[model - 2] -= 10;
				printf("y:%d\r\n", load[model - 1]);
				OLED_ShowNum(64, 2, load[model - 2], 4, 8); // 显示ASCII字符的码
				OLED_ShowNum(64, 4, load[model - 1], 4, 8); // 显示ASCII字符的码
				break;
			case 10:
				load[model - 1]++;
				printf("y:%d\r\n", load[model - 1]);
				OLED_ShowNum(64, 2, load[model - 2], 4, 8); // 显示ASCII字符的码
				OLED_ShowNum(64, 4, load[model - 1], 4, 8); // 显示ASCII字符的码
				break;
			case 11:
				load[model - 2] += 10;
				printf("y:%d\r\n", load[model - 1]);
				OLED_ShowNum(64, 2, load[model - 2], 4, 8); // 显示ASCII字符的码
				OLED_ShowNum(64, 4, load[model - 1], 4, 8); // 显示ASCII字符的码
				break;
			case 5:
				load[model - 2]++;

				OLED_ShowNum(64, 2, load[model - 2], 4, 8); // 显示ASCII字符的码
				OLED_ShowNum(64, 4, load[model - 1], 4, 8); // 显示ASCII字符的码
				break;

			case 7:
				load[model - 2]--;

				OLED_ShowNum(64, 2, load[model - 2], 4, 8); // 显示ASCII字符的码
				OLED_ShowNum(64, 4, load[model - 1], 4, 8); // 显示ASCII字符的码
				break;
			case 16:
				STMFLASH_Write(FLASH_SAVE_ADDR, (uint32_t *)load, sizeof(load) / sizeof(uint32_t));
				STMFLASH_Read(FLASH_SAVE_ADDR, load, sizeof(load) / sizeof(uint32_t));
				OLED_Clear();
				OLED_ShowString(0, 0, "save_ok", 1);
				break;
			case 4: // 返回上一级菜�??
				model = 1;
				//						OLED_Clear();
				// 显示回到主菜�??
				break;
				// ... 其他 model1 子菜单按键处�??
			case 8:
				model += 2;
				if (model > 20)
					model = 1;
				OLED_Clear();
				OLED_ShowString(0, 0, "Model", 1);
				OLED_ShowString(16, 2, "x:", 1);
				OLED_ShowString(16, 4, "y:", 1);
				OLED_ShowNum(32, 0, model, 3, 8); // 显示ASCII字符的码

				break;
			}
			break;
		case 12:
			switch (pressedKey)
			{

			case 1:
				load[model - 1] -= 10;
				printf("y:%d\r\n", load[model - 1]);
				OLED_ShowNum(64, 2, load[model - 2], 4, 8); // 显示ASCII字符的码
				OLED_ShowNum(64, 4, load[model - 1], 4, 8); // 显示ASCII字符的码
				break;
			case 2:
				load[model - 1]--;
				printf("y:%d\r\n", load[model - 1]);
				OLED_ShowNum(64, 2, load[model - 2], 4, 8); // 显示ASCII字符的码
				OLED_ShowNum(64, 4, load[model - 1], 4, 8); // 显示ASCII字符的码
				break;
			case 3:
				load[model - 1] += 10;
				printf("y:%d\r\n", load[model - 1]);
				OLED_ShowNum(64, 2, load[model - 2], 4, 8); // 显示ASCII字符的码
				OLED_ShowNum(64, 4, load[model - 1], 4, 8); // 显示ASCII字符的码
				break;
			case 9:
				load[model - 2] -= 10;
				printf("y:%d\r\n", load[model - 1]);
				OLED_ShowNum(64, 2, load[model - 2], 4, 8); // 显示ASCII字符的码
				OLED_ShowNum(64, 4, load[model - 1], 4, 8); // 显示ASCII字符的码
				break;
			case 10:
				load[model - 1]++;
				printf("y:%d\r\n", load[model - 1]);
				OLED_ShowNum(64, 2, load[model - 2], 4, 8); // 显示ASCII字符的码
				OLED_ShowNum(64, 4, load[model - 1], 4, 8); // 显示ASCII字符的码
				break;
			case 11:
				load[model - 2] += 10;
				printf("y:%d\r\n", load[model - 1]);
				OLED_ShowNum(64, 2, load[model - 2], 4, 8); // 显示ASCII字符的码
				OLED_ShowNum(64, 4, load[model - 1], 4, 8); // 显示ASCII字符的码
				break;
			case 5:
				load[model - 2]++;

				OLED_ShowNum(64, 2, load[model - 2], 4, 8); // 显示ASCII字符的码
				OLED_ShowNum(64, 4, load[model - 1], 4, 8); // 显示ASCII字符的码
				break;

			case 7:
				load[model - 2]--;

				OLED_ShowNum(64, 2, load[model - 2], 4, 8); // 显示ASCII字符的码
				OLED_ShowNum(64, 4, load[model - 1], 4, 8); // 显示ASCII字符的码
				break;
			case 16:
				STMFLASH_Write(FLASH_SAVE_ADDR, (uint32_t *)load, sizeof(load) / sizeof(uint32_t));
				STMFLASH_Read(FLASH_SAVE_ADDR, load, sizeof(load) / sizeof(uint32_t));
				OLED_Clear();
				OLED_ShowString(0, 0, "save_ok", 1);
				break;
			case 4: // 返回上一级菜�??
				model = 1;
				//						OLED_Clear();
				// 显示回到主菜�??
				break;
				// ... 其他 model1 子菜单按键处�??
			case 8:
				model += 2;
				if (model > 20)
					model = 1;
				OLED_Clear();
				OLED_ShowString(0, 0, "Model", 1);
				OLED_ShowString(16, 2, "x:", 1);
				OLED_ShowString(16, 4, "y:", 1);
				OLED_ShowNum(32, 0, model, 3, 8); // 显示ASCII字符的码

				break;
			}
			break;
		case 14:
			switch (pressedKey)
			{

			case 1:
				load[model - 1] -= 10;
				printf("y:%d\r\n", load[model - 1]);
				OLED_ShowNum(64, 2, load[model - 2], 4, 8); // 显示ASCII字符的码
				OLED_ShowNum(64, 4, load[model - 1], 4, 8); // 显示ASCII字符的码
				break;
			case 2:
				load[model - 1]--;
				printf("y:%d\r\n", load[model - 1]);
				OLED_ShowNum(64, 2, load[model - 2], 4, 8); // 显示ASCII字符的码
				OLED_ShowNum(64, 4, load[model - 1], 4, 8); // 显示ASCII字符的码
				break;
			case 3:
				load[model - 1] += 10;
				printf("y:%d\r\n", load[model - 1]);
				OLED_ShowNum(64, 2, load[model - 2], 4, 8); // 显示ASCII字符的码
				OLED_ShowNum(64, 4, load[model - 1], 4, 8); // 显示ASCII字符的码
				break;
			case 9:
				load[model - 2] -= 10;
				printf("y:%d\r\n", load[model - 1]);
				OLED_ShowNum(64, 2, load[model - 2], 4, 8); // 显示ASCII字符的码
				OLED_ShowNum(64, 4, load[model - 1], 4, 8); // 显示ASCII字符的码
				break;
			case 10:
				load[model - 1]++;
				printf("y:%d\r\n", load[model - 1]);
				OLED_ShowNum(64, 2, load[model - 2], 4, 8); // 显示ASCII字符的码
				OLED_ShowNum(64, 4, load[model - 1], 4, 8); // 显示ASCII字符的码
				break;
			case 11:
				load[model - 2] += 10;
				printf("y:%d\r\n", load[model - 1]);
				OLED_ShowNum(64, 2, load[model - 2], 4, 8); // 显示ASCII字符的码
				OLED_ShowNum(64, 4, load[model - 1], 4, 8); // 显示ASCII字符的码
				break;
			case 5:
				load[model - 2]++;

				OLED_ShowNum(64, 2, load[model - 2], 4, 8); // 显示ASCII字符的码
				OLED_ShowNum(64, 4, load[model - 1], 4, 8); // 显示ASCII字符的码
				break;

			case 7:
				load[model - 2]--;

				OLED_ShowNum(64, 2, load[model - 2], 4, 8); // 显示ASCII字符的码
				OLED_ShowNum(64, 4, load[model - 1], 4, 8); // 显示ASCII字符的码
				break;
			case 16:
				STMFLASH_Write(FLASH_SAVE_ADDR, (uint32_t *)load, sizeof(load) / sizeof(uint32_t));
				STMFLASH_Read(FLASH_SAVE_ADDR, load, sizeof(load) / sizeof(uint32_t));
				OLED_Clear();
				OLED_ShowString(0, 0, "save_ok", 1);
				break;
			case 4: // 返回上一级菜�??
				model = 1;
				//						OLED_Clear();
				// 显示回到主菜�??
				break;
				// ... 其他 model1 子菜单按键处�??
			case 8:
				model += 2;
				if (model > 20)
					model = 1;
				OLED_Clear();
				OLED_ShowString(0, 0, "Model", 1);
				OLED_ShowString(16, 2, "x:", 1);
				OLED_ShowString(16, 4, "y:", 1);
				OLED_ShowNum(32, 0, model, 3, 8); // 显示ASCII字符的码

				break;
			}
			break;
		case 16:
			switch (pressedKey)
			{

			case 1:
				load[model - 1] -= 10;
				printf("y:%d\r\n", load[model - 1]);
				OLED_ShowNum(64, 2, load[model - 2], 4, 8); // 显示ASCII字符的码
				OLED_ShowNum(64, 4, load[model - 1], 4, 8); // 显示ASCII字符的码
				break;
			case 2:
				load[model - 1]--;
				printf("y:%d\r\n", load[model - 1]);
				OLED_ShowNum(64, 2, load[model - 2], 4, 8); // 显示ASCII字符的码
				OLED_ShowNum(64, 4, load[model - 1], 4, 8); // 显示ASCII字符的码
				break;
			case 3:
				load[model - 1] += 10;
				printf("y:%d\r\n", load[model - 1]);
				OLED_ShowNum(64, 2, load[model - 2], 4, 8); // 显示ASCII字符的码
				OLED_ShowNum(64, 4, load[model - 1], 4, 8); // 显示ASCII字符的码
				break;
			case 9:
				load[model - 2] -= 10;
				printf("y:%d\r\n", load[model - 1]);
				OLED_ShowNum(64, 2, load[model - 2], 4, 8); // 显示ASCII字符的码
				OLED_ShowNum(64, 4, load[model - 1], 4, 8); // 显示ASCII字符的码
				break;
			case 10:
				load[model - 1]++;
				printf("y:%d\r\n", load[model - 1]);
				OLED_ShowNum(64, 2, load[model - 2], 4, 8); // 显示ASCII字符的码
				OLED_ShowNum(64, 4, load[model - 1], 4, 8); // 显示ASCII字符的码
				break;
			case 11:
				load[model - 2] += 10;
				printf("y:%d\r\n", load[model - 1]);
				OLED_ShowNum(64, 2, load[model - 2], 4, 8); // 显示ASCII字符的码
				OLED_ShowNum(64, 4, load[model - 1], 4, 8); // 显示ASCII字符的码
				break;
			case 5:
				load[model - 2]++;

				OLED_ShowNum(64, 2, load[model - 2], 4, 8); // 显示ASCII字符的码
				OLED_ShowNum(64, 4, load[model - 1], 4, 8); // 显示ASCII字符的码
				break;

			case 7:
				load[model - 2]--;

				OLED_ShowNum(64, 2, load[model - 2], 4, 8); // 显示ASCII字符的码
				OLED_ShowNum(64, 4, load[model - 1], 4, 8); // 显示ASCII字符的码
				break;
			case 16:
				STMFLASH_Write(FLASH_SAVE_ADDR, (uint32_t *)load, sizeof(load) / sizeof(uint32_t));
				STMFLASH_Read(FLASH_SAVE_ADDR, load, sizeof(load) / sizeof(uint32_t));
				OLED_Clear();
				OLED_ShowString(0, 0, "save_ok", 1);
				break;
			case 4: // 返回上一级菜�??
				model = 1;
				//						OLED_Clear();
				// 显示回到主菜�??
				break;
				// ... 其他 model1 子菜单按键处�??
			case 8:
				model += 2;
				if (model > 20)
					model = 1;
				OLED_Clear();
				OLED_ShowString(0, 0, "Model", 1);
				OLED_ShowString(16, 2, "x:", 1);
				OLED_ShowString(16, 4, "y:", 1);
				OLED_ShowNum(32, 0, model, 3, 8); // 显示ASCII字符的码

				break;
			}
			break;
		case 18:
			switch (pressedKey)
			{

			case 1:
				load[model - 1] -= 10;
				printf("y:%d\r\n", load[model - 1]);
				OLED_ShowNum(64, 2, load[model - 2], 4, 8); // 显示ASCII字符的码
				OLED_ShowNum(64, 4, load[model - 1], 4, 8); // 显示ASCII字符的码
				break;
			case 2:
				load[model - 1]--;
				printf("y:%d\r\n", load[model - 1]);
				OLED_ShowNum(64, 2, load[model - 2], 4, 8); // 显示ASCII字符的码
				OLED_ShowNum(64, 4, load[model - 1], 4, 8); // 显示ASCII字符的码
				break;
			case 3:
				load[model - 1] += 10;
				printf("y:%d\r\n", load[model - 1]);
				OLED_ShowNum(64, 2, load[model - 2], 4, 8); // 显示ASCII字符的码
				OLED_ShowNum(64, 4, load[model - 1], 4, 8); // 显示ASCII字符的码
				break;
			case 9:
				load[model - 2] -= 10;
				printf("y:%d\r\n", load[model - 1]);
				OLED_ShowNum(64, 2, load[model - 2], 4, 8); // 显示ASCII字符的码
				OLED_ShowNum(64, 4, load[model - 1], 4, 8); // 显示ASCII字符的码
				break;
			case 10:
				load[model - 1]++;
				printf("y:%d\r\n", load[model - 1]);
				OLED_ShowNum(64, 2, load[model - 2], 4, 8); // 显示ASCII字符的码
				OLED_ShowNum(64, 4, load[model - 1], 4, 8); // 显示ASCII字符的码
				break;
			case 11:
				load[model - 2] += 10;
				printf("y:%d\r\n", load[model - 1]);
				OLED_ShowNum(64, 2, load[model - 2], 4, 8); // 显示ASCII字符的码
				OLED_ShowNum(64, 4, load[model - 1], 4, 8); // 显示ASCII字符的码
				break;
			case 5:
				load[model - 2]++;

				OLED_ShowNum(64, 2, load[model - 2], 4, 8); // 显示ASCII字符的码
				OLED_ShowNum(64, 4, load[model - 1], 4, 8); // 显示ASCII字符的码
				break;

			case 7:
				load[model - 2]--;

				OLED_ShowNum(64, 2, load[model - 2], 4, 8); // 显示ASCII字符的码
				OLED_ShowNum(64, 4, load[model - 1], 4, 8); // 显示ASCII字符的码
				break;
			case 16:
				STMFLASH_Write(FLASH_SAVE_ADDR, (uint32_t *)load, sizeof(load) / sizeof(uint32_t));
				STMFLASH_Read(FLASH_SAVE_ADDR, load, sizeof(load) / sizeof(uint32_t));
				OLED_Clear();
				OLED_ShowString(0, 0, "save_ok", 1);
				break;
			case 4: // 返回上一级菜�??
				model = 1;
				//						OLED_Clear();
				// 显示回到主菜�??
				break;
				// ... 其他 model1 子菜单按键处�??
			case 8:
				model += 2;
				if (model > 20)
					model = 1;
				OLED_Clear();
				OLED_ShowString(0, 0, "Model", 1);
				OLED_ShowString(16, 2, "x:", 1);
				OLED_ShowString(16, 4, "y:", 1);
				OLED_ShowNum(32, 0, model, 3, 8); // 显示ASCII字符的码

				break;
			}
			break;
		case 20:
			model = 1;
			break;
		}
		if (model > 1)
		{
			setServoPwm(load[model - 2], load[model - 1]);
		}
	}
}
/* USER CODE END 4 */

void Error_Handler(void)
{
	__disable_irq();
	while (1)
	{
	}
}
